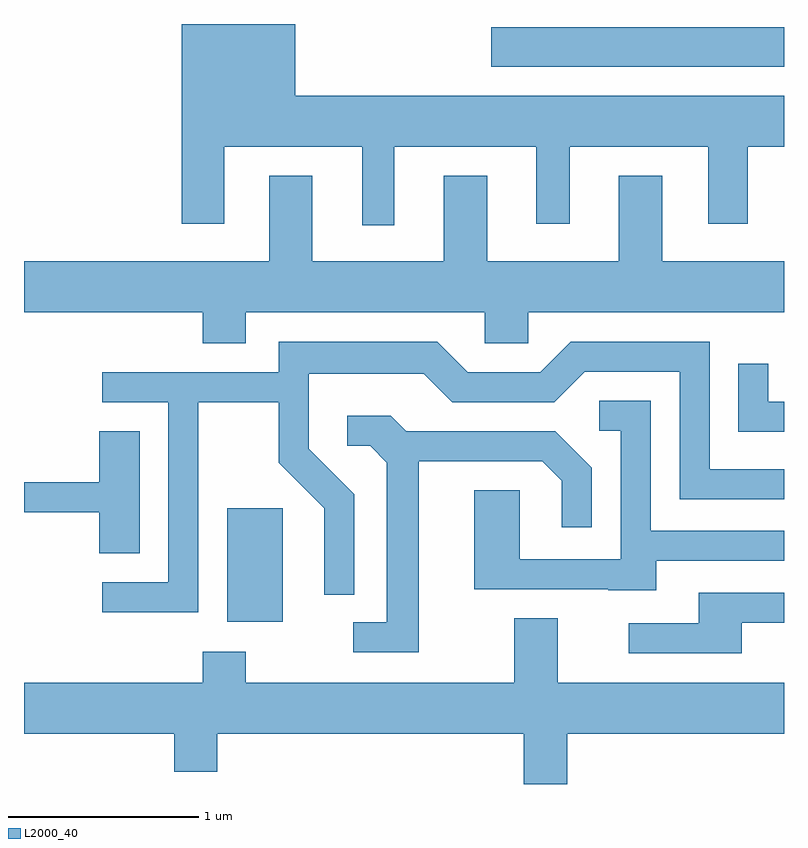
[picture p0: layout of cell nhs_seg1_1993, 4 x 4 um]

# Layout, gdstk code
import gdstk
lib = gdstk.Library(unit=1e-6, precision=1e-09)
def R(c, l, rs):  # rectangles x0, y0, x1, y1
    for r in rs: c.add(gdstk.rectangle(r[:2], r[2:], *l))
def P(c, l, *ps):  # polygons
    for p in ps: c.add(gdstk.Polygon(p, *l))
L2000_40 = (2000, 40)

nhs_seg1_1993 = lib.new_cell('nhs_seg1_1993')
R(nhs_seg1_1993, L2000_40, [(246.681,944.566,246.974,945.164), (248.071,947.486,249.611,947.694)])
P(nhs_seg1_1993, L2000_40, [(247.559,947.066),(248.306,947.066),(248.306,946.661),(248.484,946.661),(248.484,947.066),(249.211,947.066),(249.211,946.661),(249.419,946.661),(249.419,947.066),(249.611,947.066),(249.611,947.334),(247.039,947.334),(247.039,947.712),(246.441,947.712),(246.441,946.661),(246.664,946.661),(246.664,947.066),(247.391,947.066),(247.391,946.653),(247.559,946.653)],
  [(246.779,946.196),(248.036,946.196),(248.036,946.031),(248.264,946.031),(248.264,946.196),(249.611,946.196),(249.611,946.464),(248.969,946.464),(248.969,946.914),(248.741,946.914),(248.741,946.464),(248.049,946.464),(248.049,946.914),(247.821,946.914),(247.821,946.464),(247.129,946.464),(247.129,946.914),(246.901,946.914),(246.901,946.464),(245.611,946.464),(245.611,946.196),(246.551,946.196),(246.551,946.031),(246.779,946.031)],
  [(246.529,945.721),(246.951,945.721),(246.951,945.404),(247.191,945.164),(247.191,944.708),(247.349,944.708),(247.349,945.237),(247.109,945.477),(247.109,945.871),(247.714,945.871),(247.864,945.721),(248.402,945.721),(248.562,945.881),(249.061,945.881),(249.061,945.211),(249.611,945.211),(249.611,945.369),(249.219,945.369),(249.219,946.039),(248.489,946.039),(248.329,945.879),(247.947,945.879),(247.787,946.039),(246.951,946.039),(246.951,945.879),(246.023,945.879),(246.023,945.721),(246.371,945.721),(246.371,944.774),(246.023,944.774),(246.023,944.616),(246.529,944.616)],
  [(249.611,945.724),(249.529,945.724),(249.529,945.923),(249.371,945.923),(249.371,945.566),(249.611,945.566)],
  [(248.939,944.886),(249.611,944.886),(249.611,945.044),(248.909,945.044),(248.909,945.729),(248.638,945.729),(248.638,945.571),(248.751,945.571),(248.751,944.894),(248.219,944.894),(248.219,945.259),(247.981,945.259),(247.981,944.736),(248.685,944.736),(248.685,944.731),(248.939,944.731)],
  [(247.689,945.411),(248.339,945.411),(248.441,945.309),(248.441,945.063),(248.599,945.063),(248.599,945.377),(248.407,945.569),(247.622,945.569),(247.542,945.649),(247.313,945.649),(247.313,945.491),(247.434,945.491),(247.521,945.404),(247.521,944.564),(247.343,944.564),(247.343,944.406),(247.689,944.406)],
  [(246.219,945.569),(246.006,945.569),(246.006,945.299),(245.611,945.299),(245.611,945.141),(246.006,945.141),(246.006,944.926),(246.219,944.926)],
  [(249.389,944.561),(249.611,944.561),(249.611,944.719),(249.161,944.719),(249.161,944.559),(248.793,944.559),(248.793,944.401),(249.389,944.401)],
  [(248.469,943.976),(249.611,943.976),(249.611,944.244),(248.419,944.244),(248.419,944.584),(248.191,944.584),(248.191,944.244),(246.779,944.244),(246.779,944.409),(246.551,944.409),(246.551,944.244),(245.611,944.244),(245.611,943.976),(246.401,943.976),(246.401,943.776),(246.629,943.776),(246.629,943.976),(248.241,943.976),(248.241,943.712),(248.469,943.712)])

lib.write_gds('nhs_seg1_1993.gds')
